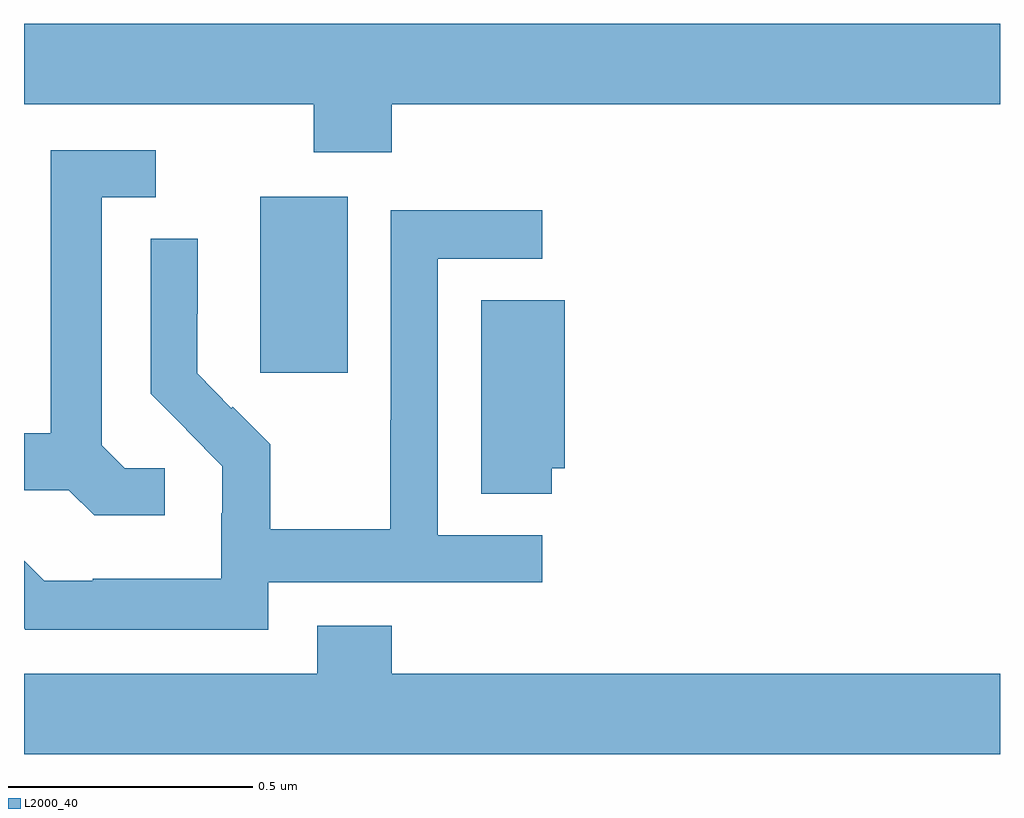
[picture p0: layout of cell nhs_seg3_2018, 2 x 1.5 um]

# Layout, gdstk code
import gdstk
lib = gdstk.Library(unit=1e-6, precision=1e-09)
def R(c, l, rs):  # rectangles x0, y0, x1, y1
    for r in rs: c.add(gdstk.rectangle(r[:2], r[2:], *l))
def P(c, l, *ps):  # polygons
    for p in ps: c.add(gdstk.Polygon(p, *l))
L2000_40 = (2000, 40)

nhs_seg3_2018 = lib.new_cell('nhs_seg3_2018')
R(nhs_seg3_2018, L2000_40, [(136.484,672.393,136.663,672.754)])
P(nhs_seg3_2018, L2000_40, [(136.754,672.944),(138,672.944),(138,673.108),(136,673.108),(136,672.944),(136.594,672.944),(136.594,672.845),(136.754,672.845)],
  [(136.288,672.198),(136.206,672.198),(136.159,672.245),(136.159,672.753),(136.27,672.753),(136.27,672.849),(136.055,672.849),(136.055,672.269),(136,672.269),(136,672.153),(136.092,672.153),(136.144,672.101),(136.288,672.101)],
  [(136.5,671.964),(137.062,671.964),(137.062,672.06),(136.848,672.06),(136.848,672.627),(137.062,672.627),(137.062,672.726),(136.752,672.726),(136.752,672.296),(136.75,672.296),(136.75,672.073),(136.505,672.073),(136.505,672.247),(136.428,672.324),(136.425,672.321),(136.355,672.392),(136.355,672.514),(136.356,672.514),(136.356,672.668),(136.26,672.668),(136.26,672.35),(136.333,672.277),(136.332,672.276),(136.406,672.202),(136.406,672.105),(136.404,672.105),(136.404,671.971),(136.141,671.971),(136.141,671.967),(136.041,671.967),(136,672.008),(136,671.87),(136.003,671.867),(136.5,671.867)],
  [(137.081,672.198),(137.108,672.198),(137.108,672.542),(136.937,672.542),(136.937,672.145),(137.081,672.145)],
  [(138,671.776),(136.754,671.776),(136.754,671.875),(136.601,671.875),(136.601,671.776),(136,671.776),(136,671.612),(138,671.612)])

lib.write_gds('nhs_seg3_2018.gds')
